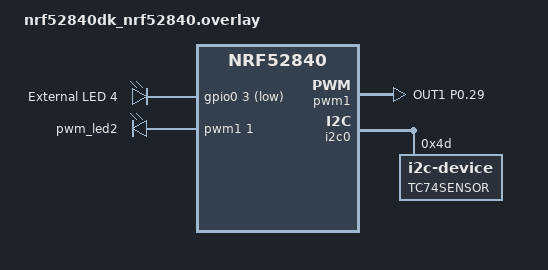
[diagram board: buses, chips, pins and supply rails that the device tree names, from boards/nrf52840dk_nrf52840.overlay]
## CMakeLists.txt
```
cmake_minimum_required(VERSION 3.20.0)
set(CMAKE_EXPORT_COMPILE_COMMANDS ON)

find_package(Zephyr REQUIRED HINTS $ENV{ZEPHYR_BASE})
project(assign3)

# Lista de ficheiros da aplicação
FILE(GLOB app_sources
    src/main.c
    src/button_task.c
    src/led_task.c
    src/task.c
    src/control_task.c
    src/temp_task.c
    src/uart.c
    src/cmd.c


)

target_sources(app PRIVATE ${app_sources})
```

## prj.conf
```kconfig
CONFIG_GPIO=y
CONFIG_PWM=y
CONFIG_PWM_NRFX=y
CONFIG_I2C=y
CONFIG_I2C_NRFX=y
CONFIG_UART_ASYNC_API=y
CONFIG_SERIAL=y
CONFIG_UART_CONSOLE=y
CONFIG_UART_INTERRUPT_DRIVEN=y
CONFIG_USE_SEGGER_RTT=n
```

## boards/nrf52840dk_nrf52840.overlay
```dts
// To get started, press Ctrl+Space to bring up the completion menu and view the available nodes.

// You can also use the buttons in the sidebar to perform actions on nodes.
// Actions currently available include:

// * Enabling / disabling the node
// * Adding the bus to a bus
// * Removing the node
// * Connecting ADC channels

// For more help, browse the DeviceTree documentation at https://docs.zephyrproject.org/latest/guides/dts/index.html
// You can also visit the nRF DeviceTree extension documentation at https://nrfconnect.github.io/vscode-nrf-connect/devicetree/nrfdevicetree.html
/ {
	
	extleds {
		compatible = "gpio-leds";
		extled4: extled_4 {
			gpios = <&gpio0 3 GPIO_ACTIVE_LOW>;
			label = "External LED 4";
		};
	};	
	
	pwmleds {
		compatible = "pwm-leds";
		pwm_led2: pwm_led_2 {
			// Note that the "1" refers to the PWM channel (0...3)
			pwms = <&pwm1 1 PWM_MSEC(20) PWM_POLARITY_INVERTED>;
		};
	};


};

&pwm1 {
	status = "okay";
	pinctrl-0 = <&pwm1_default>;
	pinctrl-1 = <&pwm1_sleep>;
	pinctrl-names = "default", "sleep";	
};

&pinctrl {
	
	pwm1_default: pwm1_default {
		group1 {
			// Note that here PWM channels are labeled PWM_OUTx
			psels = <NRF_PSEL(PWM_OUT1, 0, 29)>;
			nordic,invert;
		};
	};

	pwm1_sleep: pwm1_sleep {
		group1 {
			// Note that here PWM channels are labeled PWM_OUTx
			psels = <NRF_PSEL(PWM_OUT1, 0, 29)>;			
		};
	};
};

// To get started, press Ctrl+Space to bring up the completion menu and view the available nodes.

// You can also use the buttons in the sidebar to perform actions on nodes.
// Actions currently available include:

// * Enabling / disabling the node
// * Adding the bus to a bus
// * Removing the node
// * Connecting ADC channels

// For more help, browse the DeviceTree documentation at https://docs.zephyrproject.org/latest/guides/dts/index.html
// You can also visit the nRF DeviceTree extension documentation at https://nrfconnect.github.io/vscode-nrf-connect/devicetree/nrfdevicetree.html
&i2c0 {
    tc74sensor: tc74sensor@4d{
        compatible = "i2c-device";
        reg = <0x4D>;
        label = "TC74SENSOR";
    };
};
```

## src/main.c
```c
/**
 * @file main.c
 * @brief Ficheiro principal do projeto SETR Mini-Projeto.
 *
 * Responsável pela inicialização do sistema, mutex global e criação das threads para as tasks do sistema.
 *
 * @author Nuno Moutinho - 98626 e João Ferreira - 98180
 * @date 2025/05/29
 */

#include <zephyr/kernel.h>
#include <zephyr/sys/printk.h>
#include <stdlib.h>
#include "../include/task.h"
#include "../include/control_task.h"
#include "../include/button_task.h"
#include "../include/led_task.h"
#include "../include/cmd.h"
#include "../include/uart.h"
#include "../include/temp_task.h"



/** Cria e inicia a thread da tarefa de leitura dos botões */
K_THREAD_DEFINE(button_tid,512,button_task,NULL,NULL,NULL,5,0,0);

/** Cria e inicia a thread da tarefa de controlo dos LEDs */
K_THREAD_DEFINE(led_tid,512,led_task,NULL,NULL,NULL,5,0,0);

/** Cria e inicia a thread da tarefa de controlo da temperatura */
K_THREAD_DEFINE(temp_tid,   512, temp_task,   NULL, NULL, NULL, 5, 0,0);

/** Cria e inicia a thread da tarefa de controlo do sistema */
K_THREAD_DEFINE(ctrl_tid,   512, control_task,NULL, NULL, NULL, 5, 0, 0);

/** Cria e inicia a thread da tarefa de comunicação UART */
//K_THREAD_DEFINE(uart_tid, 512, uart_task, NULL, NULL, NULL, 5, 0, 0);




/**
 * @brief Função principal do sistema.
 *
 * Inicializa o mutex global e cria as threads para as tarefas do sistema:
 * - button_task: leitura dos botões físicos
 * - led_task: atualização dos LEDs de estado
 *
 * Entra num loop infinito com uma espera periódica de 1 segundo.
 */
void main(void)
{
    printk("Assign3: a correr! \n");
    init_rtdb();
    //uart_init();
    uart_task(); 
      while (1) {
        k_sleep(K_SECONDS(1000));   
    } 

    // Inicializa o mutex global para acesso concorrente à RTDB
    k_mutex_init(&db_lock);

}
```

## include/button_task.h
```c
/**
 * @file button_task.h
 * @brief Declaração da task responsável pela leitura dos botões físicos e atualização da RTDB.
 *
 * Esta task faz o polling dos botões e atualiza os estados do sistema
 * (ex: ON/OFF, incremento/decremento do setpoint) na RTDB, garantindo acesso concorrente seguro.
 *
 * @author Nuno Moutinho - 98626 e João Ferreira - 98180
 * @date 2025/05/29
 */

#ifndef BUTTON_TASK_H
#define BUTTON_TASK_H

/**
 * @brief Task responsável por monitorizar e tratar eventos dos botões físicos.
 * 
 *  Os botões são lidos periodicamente e os estados do sistema são atualizados na RTDB:
 *  *  - Botão 1: Liga/desliga o sistema
 *  *  - Botão 2: Incrementa a temperatura pretendida
 *  *  - Botão 3: Não utilizado
 *  *  - Botão 4: Decrementa a temperatura pretendida
 *
 * @param a Não utilizado
 * @param b Não utilizado
 * @param c Não utilizado
 */
void button_task(void *a, void *b, void *c);

#endif // BUTTON_TASK_H
```

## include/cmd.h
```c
/**
 * @file cmd.h
 * 
 * @brief Ficheiro de cabeçalho para teste dos comandos do sistema SETR Mini-Projeto.
 * * Este ficheiro contém as declarações das funções e variáveis usadas para testar os comandos do sistema.
 * * #Mxxxyyy! - Define a temperatura máxima do sistema (xxx é o valor da temperatura máxima, yyy é o checksum).
 * * #Cyyy! - Lê a temperatura atual do sensor (retorna a temperatura atual, seguida do checksum).
 * * #Sxxxxyyy! - Define os parâmetros do PID (Kp, Ti, Td) do sistema (xxx são os parametros (Kp, Ti, Td), yyy é o checksum).
 * 
 * * @author Nuno Moutinho - 98626 e João Ferreira - 98180
 * * @date 2025/06/01
 * * @bug Desconhecidos
 * 
 */

#ifndef CMD_PROC_H_
#define CMD_PROC_H_

#define UART_RX_SIZE 50 	/* Maximum size of the RX buffer */ 
#define UART_TX_SIZE 50 	/* Maximum size of the TX buffer */ 
#define BUFFER_SIZE 50 	/* Maximum size of the history buffers */
#define START '#'	        /* Start of Frame Symbol */
#define END '!'          /* End of Frame Symbol */

/* *********************************************************************************** */
#define CMD_SUCCESS 0         
#define CMD_EMPTY_STRING -1  
#define CMD_INVALID -2        
#define CMD_CS_ERROR -3        
#define CMD_WRONG_FORMAT -4    
#define CMD_FRAMING_ERROR -5 
  

/* *********************************************************************************** */

/* Used as part of the UART emulation */
/**
 * @brief Buffer de recepção UART.
 * * Este buffer é usado para armazenar os dados recebidos pela UART.
 */
extern unsigned char UARTRxBuffer[UART_RX_SIZE];
/**
 * @brief Comprimento atual do buffer de recepção UART.
 * * Indica o número de bytes atualmente armazenados no buffer de recepção UART.
 */
extern unsigned char rxBufLen; 

/**
 * @brief Buffer de transmissão UART.
 * * Este buffer é usado para armazenar os dados a serem enviados pela UART.
 */
extern unsigned char UARTTxBuffer[UART_TX_SIZE];

/**
 * @brief Comprimento atual do buffer de transmissão UART.
 * * Indica o número de bytes atualmente armazenados no buffer de transmissão UART.
 */
extern unsigned char txBufLen; 


/**
 * @brief Função para processar comandos recebidos pela UART.
 * * Esta função analisa os comandos recebidos no buffer de recepção UART e executa as ações correspondentes.
 * 
 */
//int cmd(void);
int cmd(const uint8_t *cmd_buf, int nchar);

/**
 * @brief Envia um caractere para o buffer de recepção UART.
 * * Esta função adiciona um caractere ao buffer de recepção UART, se o buffer não estiver cheio.
 * @param car O caractere a ser recebido.
 * @return int Retorna 0 se o caractere foi adicionado com sucesso, ou -1 se o buffer estiver cheio.
 * 
 */
int rxChar(unsigned char car);

/**
 * @brief Envia um caractere para o buffer de transmissão UART.
 * * Esta função adiciona um caractere ao buffer de transmissão UART, se o buffer não estiver cheio.
 * @param car O caractere a ser enviado.
 * @return int Retorna 0 se o caractere foi adicionado com sucesso, ou -1 se o buffer estiver cheio.
 * 
 */
int txChar(unsigned char car);

/**
 * @brief Reseta o buffer de recepção UART.
 * 
 * Esta função limpa o buffer de recepção UART, definindo seu comprimento para zero.
 * 
 */
void resetRxBuffer(void);

/**
 * @brief Reseta o buffer de transmissão UART.
 * 
 * Esta função limpa o buffer de transmissão UART, definindo seu comprimento para zero.
 * 
 */
void resetTxBuffer(void);

/**
 * @brief Define a temperatura máxima do sistema.
 * 
 * Esta função atualiza a temperatura máxima permitida no sistema.
 * 
 */
void getTxBuffer(unsigned char *buf, int *len);

/**
 * @brief Calcula o checksum de um buffer.
 * 
 * Esta função calcula o checksum de um buffer de bytes e verifica se o checksum está correto.
 * 
 * @param buf O buffer de bytes para calcular o checksum.
 * @param nbytes O número de bytes no buffer.
 * @return int Retorna CMD_SUCCESS se o checksum estiver correto, ou CMD_CS_ERROR se estiver incorreto.
 */
int calcChecksum(unsigned char *buf, int nbytes);

/**
 * @brief Converte um número inteiro em uma representação ASCII.
 * * Esta função converte um número inteiro em uma string ASCII, desde que o número esteja no intervalo de 1 a 99999.
 * @param num O número inteiro a ser convertido.
 * @param str O buffer onde a representação ASCII será armazenada.
 * * Esta função verifica se o número é negativo e o converte para positivo antes de a conversão.
 * * Se o número estiver fora do intervalo permitido, a string resultante será vazia.
 * 
 */
void intToAscii(int num, char *str);

#endif
```

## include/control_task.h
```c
/**
 * @file control_task.h
 * 
 * @brief Ficheiro de cabeçalho para a tarefa de controlo térmico.
 * * Define a função de controlo que compara a temperatura atual com o setpoint
 * e ativa ou desativa o aquecedor (resistor de potência) consoante a lógica de controlo definida.
 * 
 * @author Nuno Moutinho - 98626 e João Ferreira - 98180
 * @date 2025/06/03
 * 
 */
#ifndef CONTROL_TASK_H
#define CONTROL_TASK_H

#include <zephyr/kernel.h>

#ifdef __cplusplus
extern "C" {
#endif

/**
 * @brief Tarefa de controlo térmico.
 *
 * Compara a temperatura atual com o setpoint e ativa ou desativa o aquecedor (resistor de potência)
 * consoante a lógica de controlo definida (On/Off com histerese ou PID).
 *
 * @param a Parâmetro genérico (não utilizado)
 * @param b Parâmetro genérico (não utilizado)
 * @param c Parâmetro genérico (não utilizado)
 */
void control_task(void);
#ifdef __cplusplus
}
#endif

#endif // CONTROL_TASK_H
```

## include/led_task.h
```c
/**
 * @file led_task.h
 * @brief Declaração da task de controlo dos LEDs de estado do sistema.
 *
 * Esta task lê a RTDB e atualiza o estado dos LEDs consoante as condições de funcionamento
 *
 * @author Nuno Moutinho - 98626 e João Ferreira - 98180
 * @date 2025/05/29
 */

#ifndef LED_TASK_H
#define LED_TASK_H

/**
 * @brief Task responsável por atualizar os LEDs do sistema de acordo com a RTDB.
 *
 *  Os Leds são atualizados com base nos estados do sistema:
 *  *  - Led 1: (ON/OFF)
 *  *  - Led 2: Estado normal (temperatura +/- 2ºC da temperatura pretendida)
 *  *  - Led 3: Temperatura baixa (temperatura < 2ºC da temperatura pretendida)
 *  *  - Led 4: Temperatura alta (temperatura > 2ºC da temperatura pretendida)
 * 
 * @param a Não utilizado
 * @param b Não utilizado
 * @param c Não utilizado
 */

void led_task(void *a, void *b, void *c);

#endif // LED_TASK_H
```

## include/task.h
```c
/**
 * @file task.h
 * @brief Definição da RTDB (Real-Time DataBase) e funções utilitárias para tasks.
 *
 * Define a estrutura partilhada entre tasks para sincronização do estado do sistema.
 * Inclui variáveis globais, mutex e protótipos para acesso e manipulação da RTDB.
 *
* @author Nuno Moutinho - 98626 e João Ferreira - 98180
 *  @date 2025/05/29
 */

#ifndef TASK_H
#define TASK_H

#include <zephyr/kernel.h>


/**
 * @struct RTDB
 * @brief Estrutura da base de dados partilhada entre tasks (RTDB).
 *
 * Contém os estados e parâmetros principais do sistema de controlo térmico.
 */
struct RTDB {
    int system_on;      
    int max_temp;       
    int target_temp;  
    int i2c_val;        
    int current_temp;  
    int hysteresis;
};


/** Variável global da RTDB partilhada entre as tasks */
extern struct RTDB db;


/** Mutex global para acesso concorrente à RTDB */
extern struct k_mutex db_lock;

void init_rtdb(void);

#endif
```

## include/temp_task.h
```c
/**
 * @file temp_task.h
 * 
 * @brief Ficheiro de cabeçalho para a tarefa de leitura da temperatura do sensor TC74 via I2C.
 * * Define a função que lê a temperatura do sensor TC74 a cada segundo e atualiza a RTDB de forma segura com mutex.
 * 
 *  * @author Nuno Moutinho - 98626 e João Ferreira - 98180
 * * @date 2025/06/03
 * 
 */
#ifndef TEMP_TASK_H
#define TEMP_TASK_H


void temp_task(void *a, void *b, void *c);

#endif // TEMP_TASK_H
```

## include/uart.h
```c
/**
 * @file uart.h
 * 
 * @brief Ficheiro de cabeçalho para a tarefa de comunicação UART.
 * * Define a função de leitura da UART que processa comandos recebidos e envia respostas.
 * 
 * @author Nuno Moutinho - 98626 e João Ferreira - 98180
 * @date 2025/06/03
 * @bug Comandos com mais de 7 caracteres não são lidos corretamente
 * 
 */
#ifndef UART_H
#define UART_H
#include <zephyr/drivers/uart.h>


/**
 * @brief Tarefa de leitura da UART.
 * * Lê dados da UART de forma síncrona, armazena os caracteres recebidos em um buffer
 * * e executa comandos quando uma linha completa é recebida (terminada por '\n' ou '\r').
 * * Respostas são enviadas de volta pela UART.
 * 
 */
void uart_task(void);


#endif
```

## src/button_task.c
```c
/** 
 *  @file button_task.c
 *  @brief Funções usadas na task responsável pela leitura dos botões físicos e atualização da RTDB.
 *
 *  O ficheiro button_task.c contem a implementação das funções que foram declaradas no ficheiro button_task.h
 * 
 * @author Nuno Moutinho - 98626 e João Ferreira - 98180
 * @date 2025/05/29
 */

#include <zephyr/kernel.h>          
#include <zephyr/device.h>          
#include <zephyr/devicetree.h>		
#include <zephyr/drivers/gpio.h>  
#include <stdlib.h>  
#include "../include/task.h"

#define BTN1_NODE DT_ALIAS(sw0)
#define BTN2_NODE DT_ALIAS(sw1)
#define BTN4_NODE DT_ALIAS(sw3)

/**
 * @brief Tarefa responsável pela leitura dos botões físicos.
 *
 * Lê os botões definidos no sistema:
 * - Botão 1: Liga/desliga o sistema
 * - Botão 2: Aumenta o setpoint
 * - Botão 4: Diminui o setpoint
 *
 * Atualiza a RTDB com base nas interações do utilizador.
 *
 * @param a Ponteiro genérico (não utilizado)
 * @param b Ponteiro genérico (não utilizado)
 * @param c Ponteiro genérico (não utilizado)
 */

void button_task(void *a, void *b, void *c) {
    static const struct gpio_dt_spec buttons[] = {
        GPIO_DT_SPEC_GET(BTN1_NODE, gpios),
        GPIO_DT_SPEC_GET(BTN2_NODE, gpios),
        GPIO_DT_SPEC_GET(BTN4_NODE, gpios),
    };

    bool last_state[3] = {0}; 

    for (int index = 0; index < 3; index++) {
    const struct gpio_dt_spec *btn = &buttons[index];

    if (!device_is_ready(btn->port)) {
        printk("Falha ao inicializar o botão #%d (porta não pronta)\n", index);
        return;
    }
    // Configura o botão como entrada
    int ret = gpio_pin_configure_dt(btn, GPIO_INPUT);
    if (ret != 0) {
        printk("Erro ao configurar botão %d: %d\n", index, ret);
        return;
    }
}

    while (1) {
        for (int index = 0; index < 3; index++) {
            const struct gpio_dt_spec *btn = &buttons[index];
            bool atual = gpio_pin_get_dt(btn);
            
            if (atual != last_state[index]) {
                last_state[index] = atual;

                if (atual) {
                    printk(">> Ação no botão %d\n", index);
                    k_mutex_lock(&db_lock, K_FOREVER);

                    switch (index) {
                        // Botão 1: Liga/desliga o sistema
                        case 0:
                            db.system_on = !db.system_on;
                            break;
                        case 1:
                        // Botão 2: Aumenta a temperatura alvo
                            if (db.target_temp < db.max_temp)
                                db.target_temp++;
                            break;
                        case 2:
                        // Botão 4: Diminui a temperatura alvo
                            db.target_temp--;
                            break;
                        default:
                            break;
                    }
                    k_mutex_unlock(&db_lock);
                } else {
                    
                    printk(">> Botão %d libertado\n", index);
                }
            }
        }

        k_msleep(100);  
    } 
}
```

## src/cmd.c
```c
/**
 * @file cmd.c
 * 
 * @brief Ficheiro para teste dos comandos do sistema SETR Mini-Projeto.
 * 
 * Este ficheiro contém a implementação das funções que foram declaradas no ficheiro cmd.h.
 * #Mxxxyyy! - Define a temperatura máxima do sistema (xxx é o valor da temperatura máxima, yyy é o checksum).
 * #Cyyy! - Lê a temperatura atual do sensor (retorna a temperatura atual, seguida do checksum).
 * #Sxxxxyyy! - Define os parâmetros do PID (Kp, Ti, Td) do sistema (xxx são os parametros (Kp, Ti, Td), yyy é o checksum).
 * 
 * @author Nuno Moutinho - 98626 e João Ferreira - 98180
 * @date 2025/06/01
 * @bug Desconhecidos
 * 
 */

#include <string.h>
#include <stdio.h>
#include <stdlib.h>
#include <zephyr/kernel.h>
#include "../include/cmd.h"
#include "../include/task.h"

// Definições reais dos buffers e contadores
unsigned char UARTRxBuffer[UART_RX_SIZE];
unsigned char UARTTxBuffer[UART_TX_SIZE];
unsigned char rxBufLen = 0;
unsigned char txBufLen = 0;



/**
 * @brief Define a temperatura máxima do sistema.
 * 
 * Esta função atualiza a temperatura máxima permitida no sistema.
 * 
 */
// função para definir a temperatura
void set_max_temp(int t) {
    k_mutex_lock(&db_lock, K_FOREVER);
    db.max_temp = t;
    k_mutex_unlock(&db_lock);
}

/**
 * @brief Lê a temperatura atual do sensor.
 * 
 * Esta função obtém a temperatura atual medida pelo sensor.
 * 
 * @return int A temperatura atual.
 */
// função para ler a temperatura atual do sensor
int get_current_temp(void) {
    int val;
    k_mutex_lock(&db_lock, K_FOREVER);
    val = db.i2c_val;  // ou outro campo para temperatura atual!
    k_mutex_unlock(&db_lock);
    return val;
}


 //int cmd(void){
int cmd(const uint8_t *cmd_buf, int nchar) { 

	resetRxBuffer();
	resetTxBuffer();

	memcpy(UARTRxBuffer, cmd_buf, nchar);
    rxBufLen = nchar;

	// Verifica se o comando é muito longo
	if (nchar > UART_RX_SIZE) {
		resetTxBuffer();
		txChar('#'); txChar('E'); txChar('l');
		int cs = ('E' + 'l') % 256;
		txChar((cs / 100) % 10 + '0');
		txChar((cs / 10) % 10 + '0');
		txChar((cs % 10) + '0');
		txChar('!');
		txBufLen = 7;
		resetRxBuffer();
		
		return CMD_WRONG_FORMAT;
	}

	int i = 0;
    char tempStr[3]; 
    int cs; 

    // deteta se o buffer está vazio
	if(rxBufLen == 0){

		resetTxBuffer();
        txChar('#'); txChar('E'); txChar('e');
        cs = ('E' + 'e') % 256;
        txChar((cs / 100) % 10 + '0');
        txChar((cs / 10) % 10 + '0');
        txChar((cs % 10) + '0');
        txChar('!');
        txBufLen = 7;
        resetRxBuffer();		

		return CMD_EMPTY_STRING; 
	};
	
	// deteta erros de framing
	if (UARTRxBuffer[0] != START || UARTRxBuffer[rxBufLen - 1] != END) {
		resetTxBuffer();
        txChar('#'); txChar('E'); txChar('f');
        cs = ('E' + 'f') % 256;
        txChar((cs / 100) % 10 + '0');
        txChar((cs / 10) % 10 + '0');
        txChar((cs % 10) + '0');
        txChar('!');
        txBufLen = 7;
        resetRxBuffer();
		
		return CMD_FRAMING_ERROR;
	}

	/* Find index of SOF */
	for(i=0; i < rxBufLen; i++) {
		if(UARTRxBuffer[i] ==START) {
			break;
		}
	}

    if(i < rxBufLen) {
		

	switch(UARTRxBuffer[1]) { 

		//---------------------------------------------------
        // --------------------- caso 'M' -------------------
		// --------------------------------------------------
        case 'M':

			// Verifica se o checksum está correto
			if(calcChecksum(&(UARTRxBuffer[i+1]), 4) != CMD_SUCCESS){
						resetTxBuffer();
						txChar('#'); txChar('E'); txChar('s');
						cs = ('E' + 's') % 256;
						txChar((cs / 100) % 10 + '0');
						txChar((cs / 10) % 10 + '0');
						txChar((cs % 10) + '0');
						txChar('!');
						txBufLen = 7;
						resetRxBuffer();
						return CMD_CS_ERROR;
					}


				tempStr[0] = UARTRxBuffer[i+2];
				tempStr[1] = UARTRxBuffer[i+3];
				tempStr[2] = '\0';

                int newMax = atoi(tempStr);
                set_max_temp(newMax);

				// resposta
				resetTxBuffer();
                txChar('#'); txChar('E'); txChar('o');
				//checksum
                cs = ('E' + 'o') % 256;
                txChar((cs / 100) % 10 + '0');
                txChar((cs / 10) % 10 + '0');
                txChar((cs % 10) + '0');
                txChar('!');
                resetRxBuffer();

				printk("Temperatura máxima definida: %d\n", newMax);


                return CMD_SUCCESS;
            
        break;
        




        // ---------------------------------------------------
        // --------------------- caso 'C' --------------------
		// --------------------------------------------------
        case 'C': 

		resetTxBuffer();
		// Verifica se o checksum está correto
			
		if(calcChecksum(&(UARTRxBuffer[i+1]), 1) != CMD_SUCCESS){
			
            txChar('#'); txChar('E'); txChar('s');
        	int cs = ('E' + 's') % 256;
            txChar((cs / 100) % 10 + '0');
            txChar((cs / 10) % 10 + '0');
            txChar((cs % 10) + '0');
            txChar('!');
            txBufLen = 7;
            resetRxBuffer();
        return CMD_CS_ERROR;
            }

	
		// Envia sempre a resposta da temperatura SEM verificar checksum nem nada
		
		txChar('#');
		txChar('C');
		intToAscii(get_current_temp(), tempStr);
		txChar(tempStr[0]);
		txChar(tempStr[1]);
		txChar(tempStr[2]);
		txChar('!');
		
		//checksum
		cs = ('#' + 'C' + tempStr[0] + tempStr[1] + tempStr[2]) % 256;
		txChar((cs / 100) % 10 + '0');
		txChar((cs / 10) % 10 + '0');
		txChar((cs % 10) + '0');
		txChar('!');
		
		printk("Temperatura atual: %s\n", tempStr);
		resetRxBuffer();
		return CMD_SUCCESS;
	break;
        
        
	// --------------------------------------------------
	// ------------------ caso 'S'	---------------------
	// -------------------------------------------------- 
    case 'S':
	if (rxBufLen >= 7 && calcChecksum(&(UARTRxBuffer[i+1]), 4) == CMD_SUCCESS) {
		// Extrair valor da histerese
		char hystStr[4] = {
			UARTRxBuffer[i+2],
			UARTRxBuffer[i+3],
			UARTRxBuffer[i+4],
			'\0'
		};
		int hystVal = atoi(hystStr);

		// Atualizar na base de dados
		k_mutex_lock(&db_lock, K_FOREVER);
		db.hysteresis = hystVal;
		k_mutex_unlock(&db_lock);

		// Resposta de sucesso
		resetTxBuffer();
		txChar('#'); txChar('E'); txChar('o');
		// checksum
		cs = ('E' + 'o') % 256;
		txChar((cs / 100) % 10 + '0');
		txChar((cs / 10) % 10 + '0');
		txChar((cs % 10) + '0');
		txChar('!');
		resetRxBuffer();

		printk("Histerese definida: %d\n", hystVal);
		return CMD_SUCCESS;
	}
	break;
		
		default:
                resetTxBuffer();
				// resposta de erro
                txChar('#'); txChar('E'); txChar('i');
                cs = ('E' + 'i') % 256;
                txChar((cs / 100) % 10 + '0');
                txChar((cs / 10) % 10 + '0');
                txChar((cs % 10) + '0');
                txChar('!');
                txBufLen = 7;
                resetRxBuffer();
                return CMD_INVALID;
        }
    }	
	
	/* Cmd string not null and SOF not found */
	return CMD_WRONG_FORMAT;
}


// ------------------------------------------------------
// ---------------------calcChecksum --------------------
// ------------------------------------------------------
/**
 * @brief Calcula o checksum de um buffer de bytes.
 * 
 * Esta função calcula o checksum de um buffer de bytes e verifica se o checksum calculado corresponde ao checksum esperado.
 * @param buf Ponteiro para o buffer de bytes.
 * @param nbytes Número de bytes no buffer.
 * @return int Retorna CMD_SUCCESS se o checksum estiver correto, ou CMD_CS_ERROR se houver um erro no checksum.
 */
int calcChecksum(unsigned char * buf, int nbytes) {
	char checksumAscii[4]; 
	int checksum = 0;
    for (int i = 0; i < nbytes; i++) checksum += buf[i];
    checksum %= 256;
    checksumAscii[0] = (checksum / 100) % 10 + '0';
    checksumAscii[1] = (checksum / 10) % 10 + '0';
    checksumAscii[2] = checksum % 10 + '0';
    checksumAscii[3] = '\0';

    if (buf[nbytes]   == checksumAscii[0] &&
        buf[nbytes+1] == checksumAscii[1] &&
        buf[nbytes+2] == checksumAscii[2]) {
        return CMD_SUCCESS; 
    } else {
        return CMD_CS_ERROR; 
    }
}

// ------------------------------------------------------------
// ------------------ intToAscii ------------------------------
// ------------------------------------------------------------
/**
 * @brief Converte um número inteiro em uma representação ASCII.
 * * Esta função converte um número inteiro em uma string ASCII, desde que o número esteja no intervalo de 1 a 99999.
 * @param num O número inteiro a ser convertido.
 * @param str O buffer onde a representação ASCII será armazenada.
 * * Esta função verifica se o número é negativo e o converte para positivo antes de a conversão.
 * * Se o número estiver fora do intervalo permitido, a string resultante será vazia.
 * 
 */
void intToAscii(int num, char *str) {
	if(num <0){
		num = -num;
	}
    if (num <= 0 || num >= 99999) {
        str[0] = '\0';
        return;
    }
    sprintf(str, "%d", num);
}
// ---------------------------------------------------------------
// ---rxChar, txChar, resetRxBuffer, resetTxBuffer, getTxBuffer --
// ---------------------------------------------------------------
/*
 * rxChar
 */
/**
 * @brief Envia um caractere para o buffer de recepção UART.
 * * Esta função adiciona um caractere ao buffer de recepção UART, se o buffer não estiver cheio.
 * @param car O caractere a ser recebido.
 * @return int Retorna 0 se o caractere foi adicionado com sucesso, ou -1 se o buffer estiver cheio.
 * 
 */
int rxChar(unsigned char car)
{
	/* If rxbuff not full add char to it */
	if (rxBufLen < UART_RX_SIZE) {
		UARTRxBuffer[rxBufLen] = car;
		rxBufLen += 1;
		return 0;		
	}	
	/* If cmd string full return error */
	return -1;
}

/*
 * txChar
 */
/**
 * @brief Envia um caractere para o buffer de transmissão UART.
 * * Esta função adiciona um caractere ao buffer de transmissão UART, se o buffer não estiver cheio.
 * @param car O caractere a ser enviado.
 * @return int Retorna 0 se o caractere foi adicionado com sucesso, ou -1 se o buffer estiver cheio.
 */

int txChar(unsigned char car)
{
	/* If rxbuff not full add char to it */
	if (txBufLen < UART_TX_SIZE) {
		UARTTxBuffer[txBufLen] = car;
		txBufLen += 1;
		return 0;		
	}	
	/* If cmd string full return error */
	return -1;
}

/*
 * resetRxBuffer
 */

 /**
  * @brief Reseta o buffer de recepção UART.
  * 
  * Esta função limpa o buffer de recepção UART, definindo seu comprimento para zero.
  * 
  */
    void resetRxBuffer(void)
{
	rxBufLen = 0;		
	return;
}

/*
 * resetTxBuffer
 */

 /**
  * @brief Reseta o buffer de transmissão UART.
  * 
  * Esta função limpa o buffer de transmissão UART, definindo seu comprimento para zero.
  * 
  */
void resetTxBuffer(void)
{
	txBufLen = 0;		
	return;
}

/*
 * getTxBuffer
 */

 /**
  * @brief Obtém o conteúdo do buffer de transmissão UART.
  * 
  * Esta função copia o conteúdo do buffer de transmissão UART para o buffer fornecido e atualiza o comprimento do buffer.
  * @param buf Ponteiro para o buffer onde o conteúdo será copiado.
  * @param len Ponteiro para um inteiro onde o comprimento do buffer será armazenado.
  * 
  */
void getTxBuffer(unsigned char * buf, int * len)
{
	*len = txBufLen;
	if(txBufLen > 0) {
		memcpy(buf,UARTTxBuffer,*len);
	}		
	return;
}
```

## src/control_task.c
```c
#include <zephyr/kernel.h>          /* for k_msleep() */
#include <zephyr/device.h>          /* for device_is_ready() and device structure */
#include <zephyr/devicetree.h>		/* for DT_NODELABEL() */
#include <zephyr/drivers/gpio.h>    /* for GPIO api*/
#include <zephyr/drivers/pwm.h>		/* For PWM api */
#include <zephyr/sys/printk.h>      /* for printk()*/
#include "../include/task.h"    

/* Return codes */
#define ERR_ABORT -1	/* If device init fails */

/* Set the PWM period. Note that the HW retricts the maximum value that can be used, so  
 * when assigning errors should be checked to try different values.
*/
#define PWM_PERIOD 10000000 /* Value specified in ns */ 
#define PWM_NLEVELS 2 /* Number of PWM duty-cycle levels*/


/* Get node IDs for LED1, Button0, pwm and extled. Note that 
* LED1 is labeld led0 and Button 1 is labeled button0 in DTS file). 
* pwm and exrled are custom and set in Devicetree overlay*/ 
#define LED1_NODE DT_NODELABEL(led1)
#define SW0_NODE DT_NODELABEL(button0)
#define LEDPWM_NODE DT_NODELABEL(pwm_led2)
#define LED4_NODE DT_NODELABEL(extled4)

/* Define a variable of type static struct gpio_callback, which will latter be used to install the callback
*  It defines e.g. which pin triggers the callback and the address of the function */
static struct gpio_callback button_cb_data;

/* Now get the corresponding device pointer, pin number, configuration flags, ... */
static const struct gpio_dt_spec led1 = GPIO_DT_SPEC_GET(LED1_NODE, gpios);
static const struct gpio_dt_spec led4 = GPIO_DT_SPEC_GET(LED4_NODE, gpios);
static const struct gpio_dt_spec button = GPIO_DT_SPEC_GET(SW0_NODE, gpios);
static const struct pwm_dt_spec pwm_led = PWM_DT_SPEC_GET(LEDPWM_NODE);


/* Define a callback function. It is like an ISR (and runs in the context of an ISR) */
/* that is called when the button is pressed */
void button_pressed(const struct device *dev, struct gpio_callback *cb, uint32_t pins)
{
	static int div = 1; /* Divider for computing the duty-cycle */
   
    /* Toggle led1 */
	gpio_pin_toggle_dt(&led1);
	gpio_pin_toggle_dt(&led4);

	/* Adjust the brightness of pwm led 
	 * PWM_NLEVELS levels of intensity, which are actually dividers that set the duty-cycle */
	div++;
	if(div > PWM_NLEVELS)
		div = 1;
	
	printk("PWM divider set to %d\n\r", div);
	
	pwm_set_dt(&pwm_led, PWM_PERIOD, PWM_PERIOD/((unsigned int)div)); /* args are period and Ton */

}

/* 
 * The main function
 */
int control_task(void)
{
	int ret;
	
	/* Welcome message */
	printk("PWM + int + Dig out + Dig in demo \n\r");
	printk("Hit button 1,  led 2 toggles and intensity of led3 cycles \n\r");

	/* Check if devices are ready */
	if (!device_is_ready(led1.port)) {
		printk("Error: led1 device %s is not ready\n", led1.port->name);
		return ERR_ABORT;
	}

	if (!device_is_ready(led4.port)) {
		printk("Error: led4 device %s is not ready\n", led4.port->name);
		return ERR_ABORT;
	}

	if (!device_is_ready(button.port)) {
		printk("Error: button device %s is not ready\n", button.port->name);
		return ERR_ABORT;
	}

	if (!device_is_ready(pwm_led.dev)) {
		printk("Error: PWM device %s is not ready\n", pwm_led .dev->name);
		return ERR_ABORT;
	}

	/* Configure the GPIO pins - led for output and button for input
	 * Use internal pull-up to avoid the need for an external resitor (button)
	 */
	ret = gpio_pin_configure_dt(&led1, GPIO_OUTPUT_ACTIVE);
	if (ret < 0) {
		printk("Error: gpio_pin_configure_dt failed for led1, error:%d", ret);
		return ERR_ABORT;
	}

	ret = gpio_pin_configure_dt(&led4, GPIO_OUTPUT_ACTIVE);
	if (ret < 0) {
		printk("Error: gpio_pin_configure_dt failed for led4, error:%d", ret);
		return ERR_ABORT;
	}

	ret = gpio_pin_configure_dt(&button, GPIO_INPUT | GPIO_PULL_UP);
	if (ret < 0) {
		printk("Error: gpio_pin_configure_dt failed for button, error:%d", ret);
		return ERR_ABORT;
	}

	/* Configure the interrupt on the button's pin */
	ret = gpio_pin_interrupt_configure_dt(&button, GPIO_INT_EDGE_TO_ACTIVE );
	if (ret < 0) {
		printk("Error: gpio_pin_interrupt_configure_dt failed for button, error:%d", ret);
		return ERR_ABORT;
	}

	printk("All devices initialized succesfully!\n\r");

	/* Initialize the static struct gpio_callback variable   */
    gpio_init_callback(&button_cb_data, button_pressed, BIT(button.pin)); 	
	
	/* Add the callback function by calling gpio_add_callback()   */
	 gpio_add_callback(button.port, &button_cb_data);

	/* Set the initial pwm period and pulse duration, both in ns*/
	pwm_set_dt(&pwm_led, PWM_PERIOD, PWM_PERIOD/(5U));
	/* 
 	 * No need for a while(1) at the end of the main. 
	 * In Zephyr main() is a thread that can terminate without resetting the system 
	 * and there is an idle() thread that is called when there are not other tasks/ints ready
	 * The idle() thread activates the power saving modes, so it should be left running when possible
 	 */ 	

	return 0;
}
```

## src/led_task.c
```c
/** 
 *  @file led_task.c
 *  @brief Funções usadas na task responsável por controlar os LEDs do sistema.
 *
 *  O ficheiro led_task.c contem a implementação das funções que foram declaradas no ficheiro led_task.h
 * 
 * @author Nuno Moutinho - 98626 e João Ferreira - 98180
 * @date 2025/05/29
 */


#include <zephyr/kernel.h>          
#include <zephyr/device.h>          
#include <zephyr/devicetree.h>		
#include <zephyr/drivers/gpio.h>  
#include <zephyr/sys/printk.h>
#include <stdlib.h>
#include "../include/task.h"


#define LED1_NODE DT_ALIAS(led0)
#define LED2_NODE DT_ALIAS(led1)
#define LED3_NODE DT_ALIAS(led2)
#define LED4_NODE DT_ALIAS(led3)

/**
 * @brief Tarefa responsável pela atualização dos LEDs do sistema.
 *
 * Atualiza os LEDs com base no estado atual do sistema, conforme definido na RTDB:
 * - LED1: Sistema ligado/desligado
 * - LED2: Estado normal (±2°C do setpoint)
 * - LED3: Temperatura abaixo do alvo
 * - LED4: Temperatura acima do alvo
 *
 * @param a Ponteiro genérico (não utilizado)
 * @param b Ponteiro genérico (não utilizado)
 * @param c Ponteiro genérico (não utilizado)
 */
void led_task(void *a, void *b, void *c) {
    static const struct gpio_dt_spec leds[] = {
        GPIO_DT_SPEC_GET(LED1_NODE, gpios),
        GPIO_DT_SPEC_GET(LED2_NODE, gpios),
        GPIO_DT_SPEC_GET(LED3_NODE, gpios),
        GPIO_DT_SPEC_GET(LED4_NODE, gpios),
    };

    for (int i = 0; i < 4; i++) {
        if (!device_is_ready(leds[i].port)) {
            printk("LED %d não está pronto!\n", i);
            return;
        }
        gpio_pin_configure_dt(&leds[i], GPIO_OUTPUT);
        gpio_pin_set_dt(&leds[i], 0); // Começa tudo apagado!
    }

    // Variáveis para evitar atualizações desnecessárias
    static int last_system_on = -1;
    static int last_target = -9999;
    static int last_temp = -9999;
    static int last_diff = -9999;

    while (1) {
    int diff = 0;
    int system_on, target, temp;
    k_mutex_lock(&db_lock, K_FOREVER);
    system_on = db.system_on;
    target = db.target_temp;
    temp = db.i2c_val;
    k_mutex_unlock(&db_lock);

    gpio_pin_set_dt(&leds[0], system_on);

    if (!system_on) {
        gpio_pin_set_dt(&leds[1], 0);
        gpio_pin_set_dt(&leds[2], 0);
        gpio_pin_set_dt(&leds[3], 0);
    } else {
        diff = temp - target;
        // Primeiro desliga tudo
        gpio_pin_set_dt(&leds[1], 0);
        gpio_pin_set_dt(&leds[2], 0);
        gpio_pin_set_dt(&leds[3], 0);

        if (abs(diff) <= 2) {
            gpio_pin_set_dt(&leds[1], 1);
        } else if (diff < -2) {
            gpio_pin_set_dt(&leds[2], 1);
        } else if (diff > 2) {
            gpio_pin_set_dt(&leds[3], 1);
        }
    }
    k_msleep(200);
    if (system_on != last_system_on ||
    target != last_target ||
    temp != last_temp ||
    diff != last_diff)
    {
        printf("system_on=%d, target=%d, temp=%d, diff=%d\n", system_on, target, temp, diff);
        last_system_on = system_on;
        last_target = target;
        last_temp = temp;
        last_diff = diff;
    }
}

}
```

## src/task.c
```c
/** 
 *  @file task.c
 *  @brief Funções usadas nas tasks do sistema SETR Mini-Projeto.
 *
 *  O ficheiro task.c contem a implementação das estruturas que foram declaradas no ficheiro task.h
 * 
 * @author Nuno Moutinho - 98626 e João Ferreira - 98180
 * @date 2025/05/29
 */

#include "../include/task.h"
#include <stdlib.h>


struct RTDB db;
struct k_mutex db_lock;

void init_rtdb(void) {
        k_mutex_init(&db_lock);  // Inicializa o mutex

    // Valores iniciais do sistema
    db.system_on = 0;          // Sistema desligado por defeito
    db.max_temp = 30;          // Temperatura máxima configurável
    db.target_temp = 25;       // Temperatura desejada default
    db.i2c_val= 20;           // Valor do sensor ADC no arranque
    db.current_temp = 0;       // Temperatura medida inicial
    db.hysteresis = 2;         // Histerese default para ON/OFF
}
```
